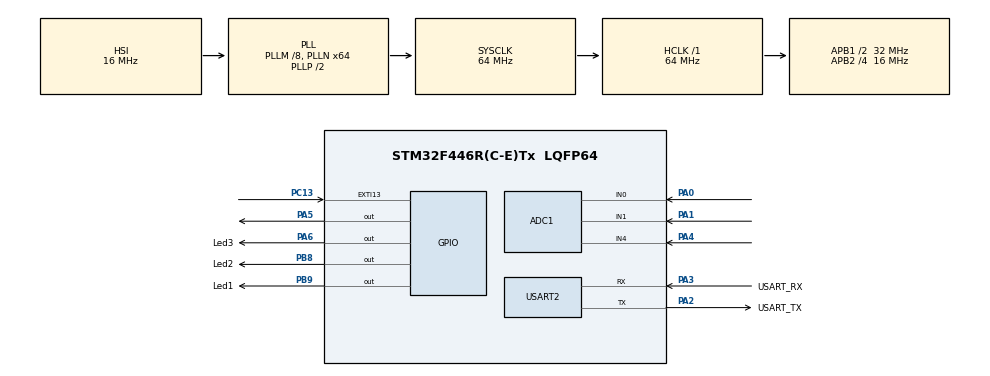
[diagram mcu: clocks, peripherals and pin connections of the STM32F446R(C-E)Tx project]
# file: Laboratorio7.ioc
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ADC1.Channel-0\#ChannelRegularConversion=ADC_CHANNEL_0
ADC1.Channel-1\#ChannelRegularConversion=ADC_CHANNEL_1
ADC1.Channel-2\#ChannelRegularConversion=ADC_CHANNEL_4
ADC1.ClockPrescaler=ADC_CLOCK_SYNC_PCLK_DIV8
ADC1.ContinuousConvMode=ENABLE
ADC1.DMAContinuousRequests=ENABLE
ADC1.NbrOfConversion=3
ADC1.NbrOfConversionFlag=1
ADC1.Rank-0\#ChannelRegularConversion=1
ADC1.Rank-1\#ChannelRegularConversion=2
ADC1.Rank-2\#ChannelRegularConversion=3
ADC1.SamplingTime-0\#ChannelRegularConversion=ADC_SAMPLETIME_56CYCLES
ADC1.SamplingTime-1\#ChannelRegularConversion=ADC_SAMPLETIME_144CYCLES
ADC1.SamplingTime-2\#ChannelRegularConversion=ADC_SAMPLETIME_480CYCLES
ADC1.ScanConvMode=ENABLE
ADC1.master=1
Dma.ADC1.0.Direction=DMA_PERIPH_TO_MEMORY
Dma.ADC1.0.FIFOMode=DMA_FIFOMODE_DISABLE
Dma.ADC1.0.Instance=DMA2_Stream0
Dma.ADC1.0.MemDataAlignment=DMA_MDATAALIGN_HALFWORD
Dma.ADC1.0.MemInc=DMA_MINC_ENABLE
Dma.ADC1.0.Mode=DMA_CIRCULAR
Dma.ADC1.0.PeriphDataAlignment=DMA_PDATAALIGN_HALFWORD
Dma.ADC1.0.PeriphInc=DMA_PINC_DISABLE
Dma.ADC1.0.Priority=DMA_PRIORITY_LOW
Dma.Request0=ADC1
Mcu.Family=STM32F4
Mcu.Name=STM32F446R(C-E)Tx
Mcu.Package=LQFP64
NUCLEO-F446RE.BUTTON=1
NUCLEO-F446RE.LD1=true
NVIC.DMA2_Stream0_IRQn=true\:0\:0\:false\:false\:true\:false\:true\:true
NVIC.EXTI15_10_IRQn=true\:0\:0\:false\:false\:true\:false\:true\:true
NVIC.PriorityGroup=NVIC_PRIORITYGROUP_0
PA0-WKUP.Signal=ADCx_IN0
PA1.Signal=ADCx_IN1
PA13.GPIO_Label=TMS
PA13.Signal=SYS_JTMS-SWDIO
PA14.GPIO_Label=TCK
PA14.Signal=SYS_JTCK-SWCLK
PA2.GPIO_Label=USART_TX
PA2.Mode=Asynchronous
PA2.Signal=USART2_TX
PA3.GPIO_Label=USART_RX
PA3.Mode=Asynchronous
PA3.Signal=USART2_RX
PA4.Signal=ADCx_IN4
PA5.Signal=GPIO_Output
PA6.GPIO_Label=Led3
PA6.Signal=GPIO_Output
PB3.GPIO_Label=SWO
PB3.Signal=SYS_JTDO-SWO
PB8.GPIO_Label=Led2
PB8.Signal=GPIO_Output
PB9.GPIO_Label=Led1
PB9.Signal=GPIO_Output
PC13.Signal=GPXTI13
PC14-OSC32_IN.Signal=RCC_OSC32_IN
PC15-OSC32_OUT.Signal=RCC_OSC32_OUT
PH0-OSC_IN.Signal=RCC_OSC_IN
PH1-OSC_OUT.Signal=RCC_OSC_OUT
ProjectManager.HeapSize=0x200
ProjectManager.StackSize=0x400
ProjectManager.TargetToolchain=STM32CubeIDE
RCC.AHBFreq_Value=64000000
RCC.APB1CLKDivider=RCC_HCLK_DIV2
RCC.APB1Freq_Value=32000000
RCC.APB1TimFreq_Value=64000000
RCC.APB2CLKDivider=RCC_HCLK_DIV4
RCC.APB2Freq_Value=16000000
RCC.APB2TimFreq_Value=32000000
RCC.CortexFreq_Value=64000000
RCC.FLatency-AdvancedSettings=FLASH_LATENCY_2
RCC.HCLKFreq_Value=64000000
RCC.HSE_VALUE=8000000
RCC.HSI_VALUE=16000000
RCC.LSE_VALUE=32768
RCC.PLLM=8
RCC.PLLN=64
RCC.SYSCLKFreq_VALUE=64000000
RCC.SYSCLKSource=RCC_SYSCLKSOURCE_PLLCLK
RCC.USBFreq_Value=64000000
RCC.VCOOutputFreq_Value=128000000
SH.ADCx_IN0.0=ADC1_IN0,IN0
SH.ADCx_IN1.0=ADC1_IN1,IN1
SH.ADCx_IN4.0=ADC1_IN4,IN4
USART2.VirtualMode=VM_ASYNC
VP_NUCLEO-F446RE_VS_BSP_COMMON.Mode=COMMON
board=NUCLEO-F446RE

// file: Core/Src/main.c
/* USER CODE BEGIN Header */
/**
  ******************************************************************************
  * @file           : main.c
  * @brief          : Main program body
  ******************************************************************************
  * @attention
  *
  * Copyright (c) 2026 STMicroelectronics.
  * All rights reserved.
  *
  * This software is licensed under terms that can be found in the LICENSE file
  * in the root directory of this software component.
  * If no LICENSE file comes with this software, it is provided AS-IS.
  *
  ******************************************************************************
  */
/* USER CODE END Header */
#include "main.h"

/* USER CODE BEGIN Includes */
#include <stdio.h>
#include <string.h>

/* USER CODE END Includes */

#define frecueMin 60.0f
#define frecueMax 210.0f

#define temperMax 39.0f
#define temperMin 25.0f

#define dinMin 20.0f
#define dinMax 150.0f

ADC_HandleTypeDef hadc1;
DMA_HandleTypeDef hdma_adc1;

UART_HandleTypeDef huart2;

/* USER CODE BEGIN PV */

float tempera = 0.0f;
float rpm = 0.0f;
float dinero = 0.0f;

char men[120];
int longitud;

uint16_t ADCvalor [3];
uint8_t ADCsetado = 0;
uint16_t con = 0;

uint16_t pot1 = 0;
uint16_t pot2 = 0;
uint16_t pot3 = 0;

float voltaje1 = 0.0f;
float voltaje2 = 0.0f;
float voltaje3 = 0.0f;

uint8_t alertafrecu = 0;
uint8_t alertadinero = 0;
uint8_t alertatemp = 0;

/* USER CODE END PV */

void SystemClock_Config(void);
static void MX_GPIO_Init(void);
static void MX_DMA_Init(void);
static void MX_ADC1_Init(void);
static void MX_USART2_UART_Init(void);

/* USER CODE BEGIN 0 */

void alertas(void){

	if (tempera < temperMin || tempera > temperMax)
    {
        HAL_GPIO_WritePin(GPIOB, Led1_Pin, GPIO_PIN_SET);
        alertatemp = 1;
    }
    else
    {
        HAL_GPIO_WritePin(GPIOB, Led1_Pin, GPIO_PIN_RESET);
        alertatemp = 0;
    }

	  if (rpm < frecueMin || rpm > frecueMax)
	    {
	        HAL_GPIO_WritePin(GPIOB, Led2_Pin, GPIO_PIN_SET);
	        alertafrecu = 1;
	    }
	    else
	    {
	        HAL_GPIO_WritePin(GPIOB, Led2_Pin, GPIO_PIN_RESET);
	        alertafrecu = 0;
	    }

	  if (dinero < dinMin || dinero > dinMax)
	     {
	         HAL_GPIO_WritePin(Led3_GPIO_Port, Led3_Pin, GPIO_PIN_SET);
	         alertadinero = 1;
	     }
	     else
	     {
	         HAL_GPIO_WritePin(Led3_GPIO_Port, Led3_Pin, GPIO_PIN_RESET);
	         alertadinero = 0;
	     }

}

/* USER CODE END 0 */

int main(void)
{

  /* MCU Configuration--------------------------------------------------------*/

  /* Reset of all peripherals, Initializes the Flash interface and the Systick. */
  HAL_Init();

  /* Configure the system clock */
  SystemClock_Config();

  /* Initialize all configured peripherals */
  MX_GPIO_Init();
  MX_DMA_Init();
  MX_ADC1_Init();
  MX_USART2_UART_Init();
  /* USER CODE BEGIN 2 */
  HAL_ADC_Start_DMA(&hadc1, (uint32_t *) ADCvalor, 3);

  /* USER CODE END 2 */

  /* Initialize leds */
  BSP_LED_Init(LED2);

  /* Initialize USER push-button, will be used to trigger an interrupt each time it's pressed.*/
  BSP_PB_Init(BUTTON_USER, BUTTON_MODE_EXTI);

  /* Infinite loop */
  /* USER CODE BEGIN WHILE */
  while (1)
  {

	con++;
	HAL_Delay (500) ;

	if (ADCsetado){
	  ADCsetado = 0;
    }

	//esto le pone a cada espacio del arreglo un valor independiente
	pot1 = ADCvalor[0];
	pot2 = ADCvalor[1];
	pot3 = ADCvalor[2];

	//para pasar los datos recibidos a unidades reales simuladas
	tempera = 20.0f + ((float)pot1 * 19.0f / 4095.0f );
	rpm = 55.0f + ((float)pot2 * 120.0f / 4095.0f);
    dinero = 10.0f + ((float)pot3 * 80.0 / 4095.0f);

	//esto es para ver si se cumplen las condiciones en cualquiera de las aletras puestas
	alertas();

	//aqui es para preparar la comunicación UART con la STM32
	//se usan decimales para poder evitar dependencia de la configuración de printf con floats

	int32_t temp = (int32_t)(tempera);
	int32_t din = (int32_t)(dinero);
	int32_t rmp = (int32_t)(rpm);

	longitud = snprintf(men, sizeof(men),
			 "T:%ld | D:%ld | F:%ld | LED: %u,%u,%u\r\n",
			(long)temp,
			(long)din,
			(long)rmp,
			(unsigned int)alertatemp,
			(unsigned int)alertadinero,
			(unsigned int)alertafrecu);

	//para transmitir por UART
	if (longitud > 0 && longitud < (int)sizeof(men))
	{
		HAL_UART_Transmit(&huart2, (uint8_t *)men, (uint16_t)longitud, 100);
	}

	HAL_Delay(200);

  }
  /* USER CODE END 3 */
}

void SystemClock_Config(void)
{
  RCC_OscInitTypeDef RCC_OscInitStruct = {0};
  RCC_ClkInitTypeDef RCC_ClkInitStruct = {0};

  /** Configure the main internal regulator output voltage
  */
  __HAL_RCC_PWR_CLK_ENABLE();
  __HAL_PWR_VOLTAGESCALING_CONFIG(PWR_REGULATOR_VOLTAGE_SCALE3);

  /** Initializes the RCC Oscillators according to the specified parameters
  * in the RCC_OscInitTypeDef structure.
  */
  RCC_OscInitStruct.OscillatorType = RCC_OSCILLATORTYPE_HSI;
  RCC_OscInitStruct.HSIState = RCC_HSI_ON;
  RCC_OscInitStruct.HSICalibrationValue = RCC_HSICALIBRATION_DEFAULT;
  RCC_OscInitStruct.PLL.PLLState = RCC_PLL_ON;
  RCC_OscInitStruct.PLL.PLLSource = RCC_PLLSOURCE_HSI;
  RCC_OscInitStruct.PLL.PLLM = 8;
  RCC_OscInitStruct.PLL.PLLN = 64;
  RCC_OscInitStruct.PLL.PLLP = RCC_PLLP_DIV2;
  RCC_OscInitStruct.PLL.PLLQ = 2;
  RCC_OscInitStruct.PLL.PLLR = 2;
  if (HAL_RCC_OscConfig(&RCC_OscInitStruct) != HAL_OK)
  {
    Error_Handler();
  }

  /** Initializes the CPU, AHB and APB buses clocks
  */
  RCC_ClkInitStruct.ClockType = RCC_CLOCKTYPE_HCLK|RCC_CLOCKTYPE_SYSCLK
                              |RCC_CLOCKTYPE_PCLK1|RCC_CLOCKTYPE_PCLK2;
  RCC_ClkInitStruct.SYSCLKSource = RCC_SYSCLKSOURCE_PLLCLK;
  RCC_ClkInitStruct.AHBCLKDivider = RCC_SYSCLK_DIV1;
  RCC_ClkInitStruct.APB1CLKDivider = RCC_HCLK_DIV2;
  RCC_ClkInitStruct.APB2CLKDivider = RCC_HCLK_DIV4;

  if (HAL_RCC_ClockConfig(&RCC_ClkInitStruct, FLASH_LATENCY_2) != HAL_OK)
  {
    Error_Handler();
  }
}

static void MX_ADC1_Init(void)
{

  ADC_ChannelConfTypeDef sConfig = {0};

  /** Configure the global features of the ADC (Clock, Resolution, Data Alignment and number of conversion)
  */
  hadc1.Instance = ADC1;
  hadc1.Init.ClockPrescaler = ADC_CLOCK_SYNC_PCLK_DIV8;
  hadc1.Init.Resolution = ADC_RESOLUTION_12B;
  hadc1.Init.ScanConvMode = ENABLE;
  hadc1.Init.ContinuousConvMode = ENABLE;
  hadc1.Init.DiscontinuousConvMode = DISABLE;
  hadc1.Init.ExternalTrigConvEdge = ADC_EXTERNALTRIGCONVEDGE_NONE;
  hadc1.Init.ExternalTrigConv = ADC_SOFTWARE_START;
  hadc1.Init.DataAlign = ADC_DATAALIGN_RIGHT;
  hadc1.Init.NbrOfConversion = 3;
  hadc1.Init.DMAContinuousRequests = ENABLE;
  hadc1.Init.EOCSelection = ADC_EOC_SINGLE_CONV;
  if (HAL_ADC_Init(&hadc1) != HAL_OK)
  {
    Error_Handler();
  }

  /** Configure for the selected ADC regular channel its corresponding rank in the sequencer and its sample time.
  */
  sConfig.Channel = ADC_CHANNEL_0;
  sConfig.Rank = 1;
  sConfig.SamplingTime = ADC_SAMPLETIME_56CYCLES;
  if (HAL_ADC_ConfigChannel(&hadc1, &sConfig) != HAL_OK)
  {
    Error_Handler();
  }

  /** Configure for the selected ADC regular channel its corresponding rank in the sequencer and its sample time.
  */
  sConfig.Channel = ADC_CHANNEL_1;
  sConfig.Rank = 2;
  sConfig.SamplingTime = ADC_SAMPLETIME_144CYCLES;
  if (HAL_ADC_ConfigChannel(&hadc1, &sConfig) != HAL_OK)
  {
    Error_Handler();
  }

  /** Configure for the selected ADC regular channel its corresponding rank in the sequencer and its sample time.
  */
  sConfig.Channel = ADC_CHANNEL_4;
  sConfig.Rank = 3;
  sConfig.SamplingTime = ADC_SAMPLETIME_480CYCLES;
  if (HAL_ADC_ConfigChannel(&hadc1, &sConfig) != HAL_OK)
  {
    Error_Handler();
  }

}

static void MX_USART2_UART_Init(void)
{

  huart2.Instance = USART2;
  huart2.Init.BaudRate = 115200;
  huart2.Init.WordLength = UART_WORDLENGTH_8B;
  huart2.Init.StopBits = UART_STOPBITS_1;
  huart2.Init.Parity = UART_PARITY_NONE;
  huart2.Init.Mode = UART_MODE_TX_RX;
  huart2.Init.HwFlowCtl = UART_HWCONTROL_NONE;
  huart2.Init.OverSampling = UART_OVERSAMPLING_16;
  if (HAL_UART_Init(&huart2) != HAL_OK)
  {
    Error_Handler();
  }

}

static void MX_DMA_Init(void)
{

  /* DMA controller clock enable */
  __HAL_RCC_DMA2_CLK_ENABLE();

  /* DMA interrupt init */
  /* DMA2_Stream0_IRQn interrupt configuration */
  HAL_NVIC_SetPriority(DMA2_Stream0_IRQn, 0, 0);
  HAL_NVIC_EnableIRQ(DMA2_Stream0_IRQn);

}

static void MX_GPIO_Init(void)
{
  GPIO_InitTypeDef GPIO_InitStruct = {0};

  /* GPIO Ports Clock Enable */
  __HAL_RCC_GPIOC_CLK_ENABLE();
  __HAL_RCC_GPIOH_CLK_ENABLE();
  __HAL_RCC_GPIOA_CLK_ENABLE();
  __HAL_RCC_GPIOB_CLK_ENABLE();

  /*Configure GPIO pin Output Level */
  HAL_GPIO_WritePin(Led3_GPIO_Port, Led3_Pin, GPIO_PIN_RESET);

  /*Configure GPIO pin Output Level */
  HAL_GPIO_WritePin(GPIOB, Led2_Pin|Led1_Pin, GPIO_PIN_RESET);

  /*Configure GPIO pin : Led3_Pin */
  GPIO_InitStruct.Pin = Led3_Pin;
  GPIO_InitStruct.Mode = GPIO_MODE_OUTPUT_PP;
  GPIO_InitStruct.Pull = GPIO_NOPULL;
  GPIO_InitStruct.Speed = GPIO_SPEED_FREQ_LOW;
  HAL_GPIO_Init(Led3_GPIO_Port, &GPIO_InitStruct);

  /*Configure GPIO pins : Led2_Pin Led1_Pin */
  GPIO_InitStruct.Pin = Led2_Pin|Led1_Pin;
  GPIO_InitStruct.Mode = GPIO_MODE_OUTPUT_PP;
  GPIO_InitStruct.Pull = GPIO_NOPULL;
  GPIO_InitStruct.Speed = GPIO_SPEED_FREQ_LOW;
  HAL_GPIO_Init(GPIOB, &GPIO_InitStruct);

}

/* USER CODE BEGIN 4 */

void temperatua(void){

}
/* USER CODE END 4 */

void Error_Handler(void)
{
  __disable_irq();
  while (1)
  {
  }
}
